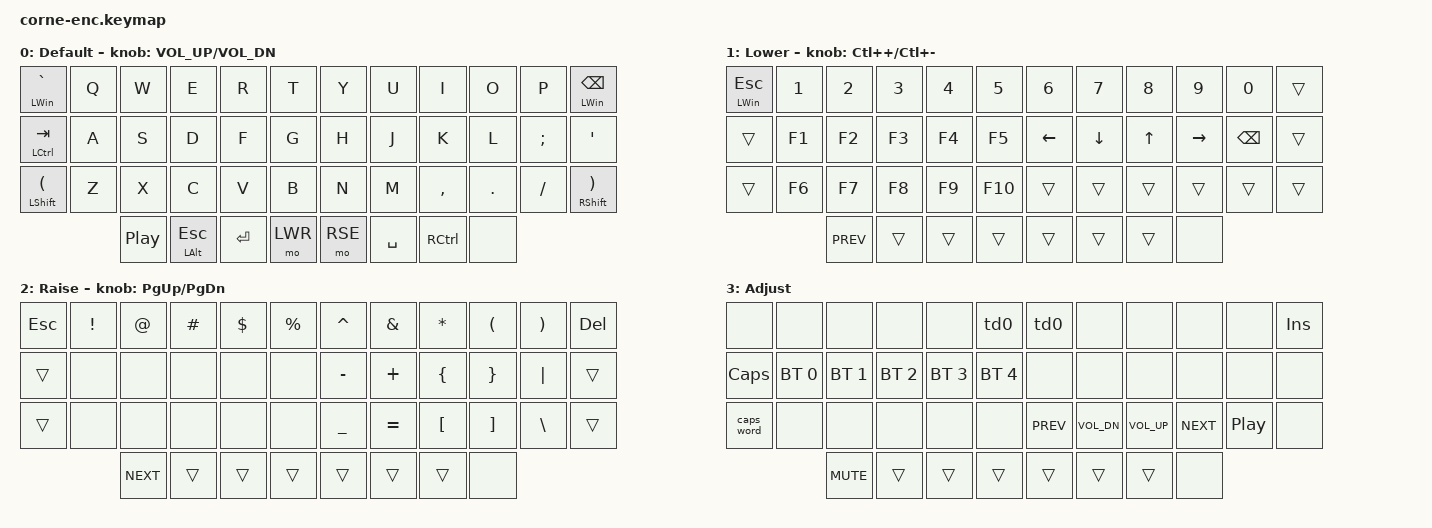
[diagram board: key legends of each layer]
/*
 * Copyright (c) 2020 The ZMK Contributors
 *
 * SPDX-License-Identifier: MIT
 */

#include <behaviors.dtsi>
#include <dt-bindings/zmk/keys.h>
#include <dt-bindings/zmk/bt.h>

#define DEF 0
#define LWR 1
#define RSE 2
#define ADJ 3


&caps_word {
    continue-list = <UNDERSCORE MINUS>;
};


/ {

    /* KEY POSITIONS

    (regular)
    ╭────────────────────────╮ ╭────────────────────────╮
    │  0   1   2   3   4   5 │ │  6   7   8   9  10  11 │
    │ 12  13  14  15  16  17 │ │ 18  19  20  21  22  23 │
    │ 24  25  26  27  28  29 │ │ 30  31  32  33  34  35 │
    ╰───────────╮ 36  37  38 │ │ 39  40  41 ╭───────────╯
                ╰────────────╯ ╰────────────╯
    (encoder)
    ╭────────────────────────╮ ╭────────────────────────╮
    │  0   1   2   3   4   5 │ │  6   7   8   9  10  11 │
    │ 12  13  14  15  16  17 │ │ 18  19  20  21  22  23 │
    │ 24  25  26  27  28  29 │ │ 30  31  32  33  34  35 │
    ╰───────╮ 36  37  38  39 │ │ 40  41  42  43 ╭───────╯
            ╰────────────────╯ ╰────────────────╯
    */

        combos {
                compatible = "zmk,combos";
                combo_grave {
                        timeout-ms = <50>;
                        key-positions = <1 2>;
                        layers = <DEF>;
                        bindings = <&kp GRAVE>;
                };
                combo_esc {
                        timeout-ms = <50>;
                        key-positions = <1 2>;
                        layers = <LWR RSE>;
                        bindings = <&kp ESC>;
                };
                combo_btclr {
                        timeout-ms = <50>;
                        key-positions = <5 6>;
                        layers = <ADJ>;
                        //bindings = <&bt BT_CLR>;
                        bindings = <&kp GRAVE>;
                };
        };

        behaviors {
                // Make it so triple tap is required for destructive functions
                td0: tap_dance_btclr {
                        compatible = "zmk,behavior-tap-dance";
                        label = "TAP_DANCE_BTCLR";
                        #binding-cells = <0>;
                        tapping-term-ms = <200>;
                        bindings = <&none>, <&none>, <&bt BT_CLR>;
                };
        };

        conditional_layers {
                compatible = "zmk,conditional-layers";
                tri_layer {
                        if-layers = <LWR RSE>;
                        then-layer = <ADJ>;
                };
        };

        keymap {
                compatible = "zmk,keymap";
                default_layer {
// -----------------------------------------------------------------------------------------
// | GUI/~    |   Q  |    W  |  E  |  R  |  T  |     |  Y  |  U   |  I  |  O  |  P  | BKSP   |
// | CTRL/TAB |   A  |    S  |  D  |  F  |  G  |     |  H  |  J   |  K  |  L  |  ;  |  '     |
// | SHFT/(   |   Z  |    X  |  C  |  V  |  B  |     |  N  |  M   |  ,  |  .  |  /  | SHFT/) |
//                           | ALT | ENT | LWR |     | RSE | ENT  | CTRL|
                        bindings = <
   &mt LWIN GRAVE   &kp Q    &kp W      &kp E          &kp R    &kp T       &kp Y    &kp U     &kp I     &kp O    &kp P     &mt LWIN BSPC
   &mt LCTRL TAB    &kp A    &kp S      &kp D          &kp F    &kp G       &kp H    &kp J     &kp K     &kp L    &kp SEMI  &kp SQT
   &mt LSHFT LPAR   &kp Z    &kp X      &kp C          &kp V    &kp B       &kp N    &kp M     &kp COMMA &kp DOT  &kp FSLH  &mt RSHFT RPAR
                             &kp C_PP   &mt LALT ESC   &kp RET  &mo LWR     &mo RSE  &kp SPACE &kp RCTL  &none
                        >;
                        sensor-bindings = <&inc_dec_kp C_VOL_UP C_VOL_DN> &inc_dec_kp PG_UP PG_DN>;
                        label = "Default";
                };
                lower_layer {
// -----------------------------------------------------------------------------------------
// |  ESC |  1  |  2  |  3  |  4  |  5  |        |  6  |  7  |  8  |  9  |  0  | BKSP |
// |      | F1  | F2  | F3  | F4  | F5  |        | LFT | DWN |  UP | RGT |     |      |
// |      | F6  | F7  | F8  | F9  | F10 |        |     |     |     |     |     |      |
//                    |     | ADJ |     |        | ADJ |     |     |
                        bindings = <
   &mt LWIN ESC &kp N1      &kp N2     &kp N3      &kp N4      &kp N5            &kp N6   &kp N7   &kp N8 &kp N9    &kp N0   &trans
   &trans       &kp F1      &kp F2     &kp F3      &kp F4      &kp F5            &kp LEFT &kp DOWN &kp UP &kp RIGHT &kp BSPC &trans
   &trans       &kp F6      &kp F7     &kp F8      &kp F9      &kp F10           &trans   &trans   &trans &trans    &trans   &trans
                            &kp C_PREV &trans      &trans      &trans            &trans   &trans  &trans &none
                        >;
                        sensor-bindings = <&inc_dec_cp LC(PLUS) LC(MINUS)> &inc_dec_kp PG_UP PG_DN>;
                        label = "Lower";
                };

                raise_layer {
// -----------------------------------------------------------------------------------------
// |  ESC |  !  |  @  |  #  |  $  |  %  |        |  ^  |  &  |  *  |  (  |  )  | DEL  |
// | CTRL |     |     |     |     |     |        |  -  |  +  |  {  |  }  | "|" |      |
// | SHFT |     |     |     |     |     |        |  _  |  =  |  [  |  ]  |  \  |      |
//                    |     |     | ADJ |        |     | ADJ |     |
                        bindings = <
   &kp  ESC     &kp EXCL    &kp AT     &kp HASH    &kp DLLR    &kp PRCNT         &kp CARET   &kp AMPS    &kp ASTRK  &kp LPAR &kp RPAR &kp DEL
   &trans       &none       &none      &none       &none       &none             &kp MINUS   &kp PLUS    &kp LBRC   &kp RBRC &kp PIPE &trans
   &trans       &none       &none      &none       &none       &none             &kp UNDER   &kp EQUAL   &kp LBKT   &kp RBKT &kp BSLH &trans
                            &kp C_NEXT &trans      &trans      &trans            &trans       &trans      &trans     &none
                        >;
                        sensor-bindings = <&inc_dec_kp PG_UP PG_DN> &inc_dec_kp PG_UP PG_DN>;
                        label = "Raise";
                };
                adjust_layer {
// -----------------------------------------------------------------------------------------
// |      |      |     |     |     |BTCLR|        |     |     |     |     |      | INS  |
// | CAPS | BT0  | BT1 | BT2 | BT3 | BT4 |        |     |     |     |     |      |      |
// |W_CAPS|      |     |     |     |     |        |  <- | -VOL| +VOL| ->  | ||   |      |
//                     |     |     |     |        |     |     |     |
                        bindings = <
   &none        &none        &none        &none        &none        &td0               &td0         &none        &none        &none        &none         &kp INS
   &kp CAPS     &bt BT_SEL 0 &bt BT_SEL 1 &bt BT_SEL 2 &bt BT_SEL 3 &bt BT_SEL 4       &none        &none        &none        &none        &none         &none
   &caps_word   &none        &none        &none        &none        &none              &kp C_PREV   &kp C_VOL_DN &kp C_VOL_UP &kp C_NEXT   &kp C_PP      &none
                             &kp C_MUTE   &trans       &trans       &trans             &trans       &trans       &trans       &none
                        >;
                        label = "Adjust";
                };
        };
};
